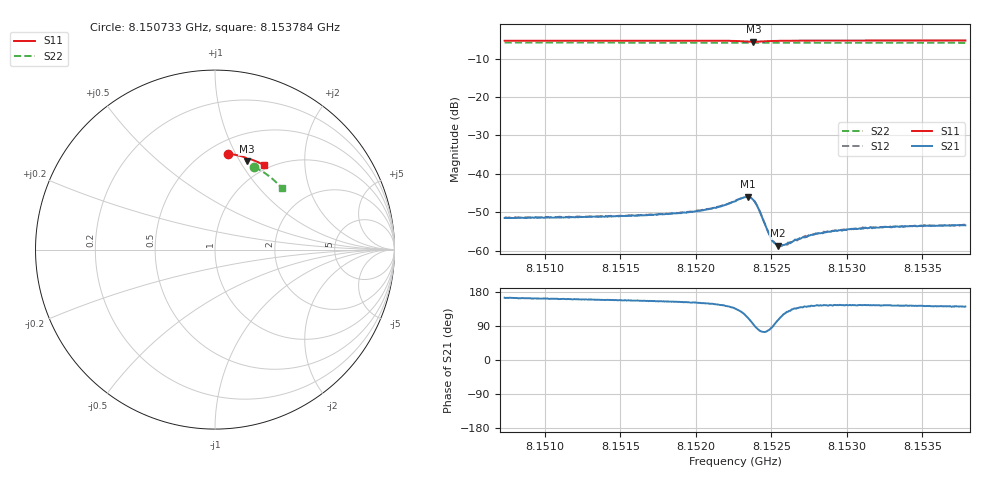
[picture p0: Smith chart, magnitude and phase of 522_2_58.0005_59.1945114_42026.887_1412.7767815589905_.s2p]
#  HZ  S  RI  R  50.00
! Rohde & Schwarz Vector Network Analyzer
! Rohde-Schwarz,ZNB20-2Port,1311601062101988,3.16
! Created: UTC 3/21/2024, 1:13:44 AM
! freq[Hz]  re:S11  im:S11  re:S21  im:S21  re:S12  im:S12  re:S22  im:S22
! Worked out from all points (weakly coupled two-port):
!   401 points, 8.150733 GHz to 8.153784 GHz, reference 50 ohm
!   highest |S21| = -45.94 dB at 8.152343 GHz (marker M1); lowest = -58.7 dB at 8.152541 GHz (marker M2)
!   lowest |S11| = -5.6 dB at 8.152381 GHz (marker M3), VSWR 3.19, Z = 39.6 + j53.6 ohm
!   |S11| at or under -10 dB: nowhere
!   |S22| runs from -5.9 to -5.8 dB; largest |S21 - S12| = 0.00012
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8.1507334e9  0.0729 0.5342  -0.00257 0.000715  -0.00259 0.000763  0.2192 0.4608
8.1512444e9  0.1084 0.5287  -0.00259 0.000959  -0.00259 0.000975  0.2481 0.4452
8.1517554e9  0.144 0.521  -0.0027 0.00127  -0.00272 0.00131  0.2758 0.4276
8.1520376e9  0.1644 0.5147  -0.00291 0.00168  -0.00293 0.00173  0.2906 0.4172
8.152152e9  0.1733 0.5107  -0.00309 0.00209  -0.00309 0.00214  0.2964 0.4128
8.1522587e9  0.1818 0.5041  -0.00315 0.00307  -0.00315 0.00319  0.3019 0.4085
8.1523121e9  0.1841 0.4978  -0.0027 0.00409  -0.00268 0.00412  0.3043 0.4063
8.1523426e9  0.1826 0.4937  -0.0019 0.00468  -0.00182 0.00471  0.3056 0.405
8.1523579e9  0.181 0.4924  -0.00128 0.00477  -0.00124 0.00478  0.3063 0.4044
8.1523808e9  0.1776 0.4918  -0.000298 0.00453  -0.000233 0.0046  0.3073 0.4035
8.152396e9  0.1756 0.4931  0.000247 0.00412  0.000307 0.00415  0.308 0.4031
8.1524189e9  0.1743 0.4962  0.000682 0.0033  0.00073 0.00331  0.3091 0.4022
8.1524952e9  0.1798 0.5036  0.000169 0.00148  0.000206 0.00146  0.313 0.3995
8.152518e9  0.1823 0.5044  -7.88e-05 0.00127  -4.84e-05 0.0013  0.3142 0.3987
8.1525409e9  0.1846 0.5046  -0.000283 0.00113  -0.000277 0.00116  0.3153 0.3978
8.1525943e9  0.1899 0.5045  -0.000686 0.001  -0.000676 0.00101  0.318 0.3955
8.1527087e9  0.1994 0.5026  -0.00114 0.000993  -0.00114 0.000966  0.3236 0.3909
8.1527697e9  0.2042 0.5013  -0.00128 0.000971  -0.00128 0.000996  0.3266 0.3883
8.1528612e9  0.2107 0.4991  -0.00142 0.00101  -0.00141 0.00106  0.3309 0.3844
8.1530061e9  0.2208 0.4951  -0.00155 0.00112  -0.00157 0.00113  0.3377 0.3782
8.1532807e9  0.2387 0.4873  -0.00166 0.00118  -0.00166 0.00121  0.3501 0.366
8.153784e9  0.2703 0.4717  -0.00167 0.00134  -0.00167 0.00139  0.372 0.343
